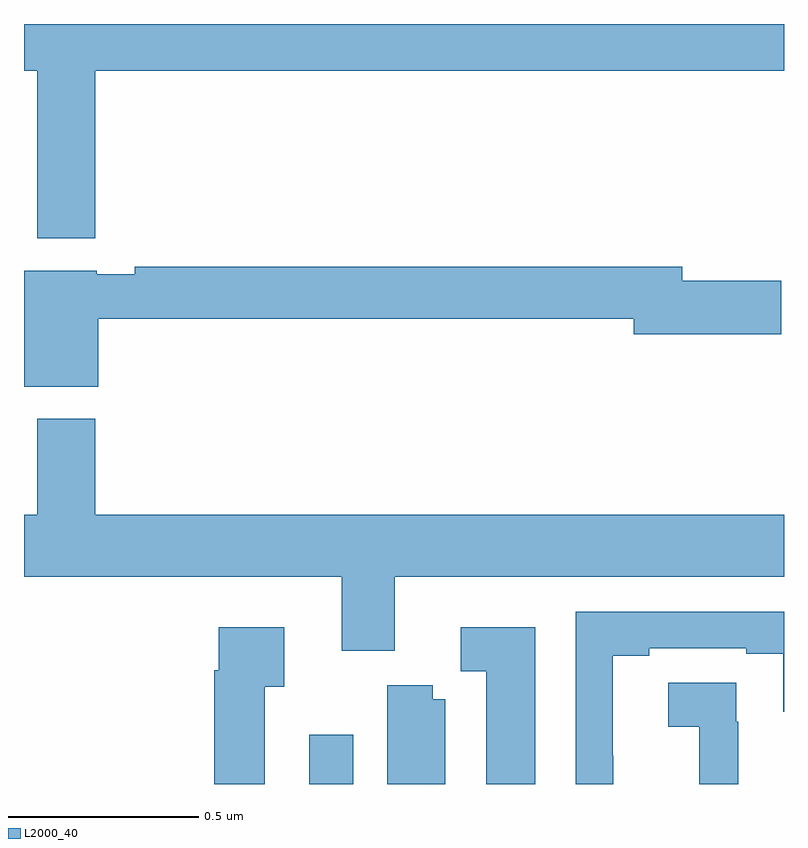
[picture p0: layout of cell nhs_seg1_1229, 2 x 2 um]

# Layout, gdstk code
import gdstk
lib = gdstk.Library(unit=1e-6, precision=1e-09)
def R(c, l, rs):  # rectangles x0, y0, x1, y1
    for r in rs: c.add(gdstk.rectangle(r[:2], r[2:], *l))
def P(c, l, *ps):  # polygons
    for p in ps: c.add(gdstk.Polygon(p, *l))
L2000_40 = (2000, 40)

nhs_seg1_1229 = lib.new_cell('nhs_seg1_1229')
R(nhs_seg1_1229, L2000_40, [(126.75,539.199,126.867,539.329)])
P(nhs_seg1_1229, L2000_40, [(126.188,541.076),(128,541.076),(128,541.199),(126,541.199),(126,541.076),(126.035,541.076),(126.035,540.635),(126.188,540.635)],
  [(126.196,540.424),(127.604,540.424),(127.604,540.382),(127.993,540.382),(127.993,540.524),(127.732,540.524),(127.732,540.56),(126.292,540.56),(126.292,540.54),(126.192,540.54),(126.192,540.55),(126,540.55),(126,540.245),(126.196,540.245)],
  [(126.976,539.744),(128,539.744),(128,539.908),(126.188,539.908),(126.188,540.16),(126.035,540.16),(126.035,539.908),(126,539.908),(126,539.744),(126.836,539.744),(126.836,539.55),(126.976,539.55)],
  [(127.551,539.273),(127.549,539.273),(127.549,539.536),(127.645,539.536),(127.645,539.556),(127.901,539.556),(127.901,539.542),(127.998,539.542),(127.998,539.389),(128,539.389),(128,539.652),(127.452,539.652),(127.452,539.199),(127.551,539.199)],
  [(127.345,539.611),(127.149,539.611),(127.149,539.496),(127.217,539.496),(127.217,539.199),(127.345,539.199)],
  [(126.634,539.455),(126.685,539.455),(126.685,539.611),(126.512,539.611),(126.512,539.498),(126.5,539.498),(126.5,539.199),(126.634,539.199)],
  [(127.88,539.363),(127.874,539.363),(127.874,539.465),(127.695,539.465),(127.695,539.35),(127.777,539.35),(127.777,539.199),(127.88,539.199)],
  [(127.108,539.422),(127.076,539.422),(127.076,539.459),(126.956,539.459),(126.956,539.199),(127.108,539.199)])

lib.write_gds('nhs_seg1_1229.gds')
